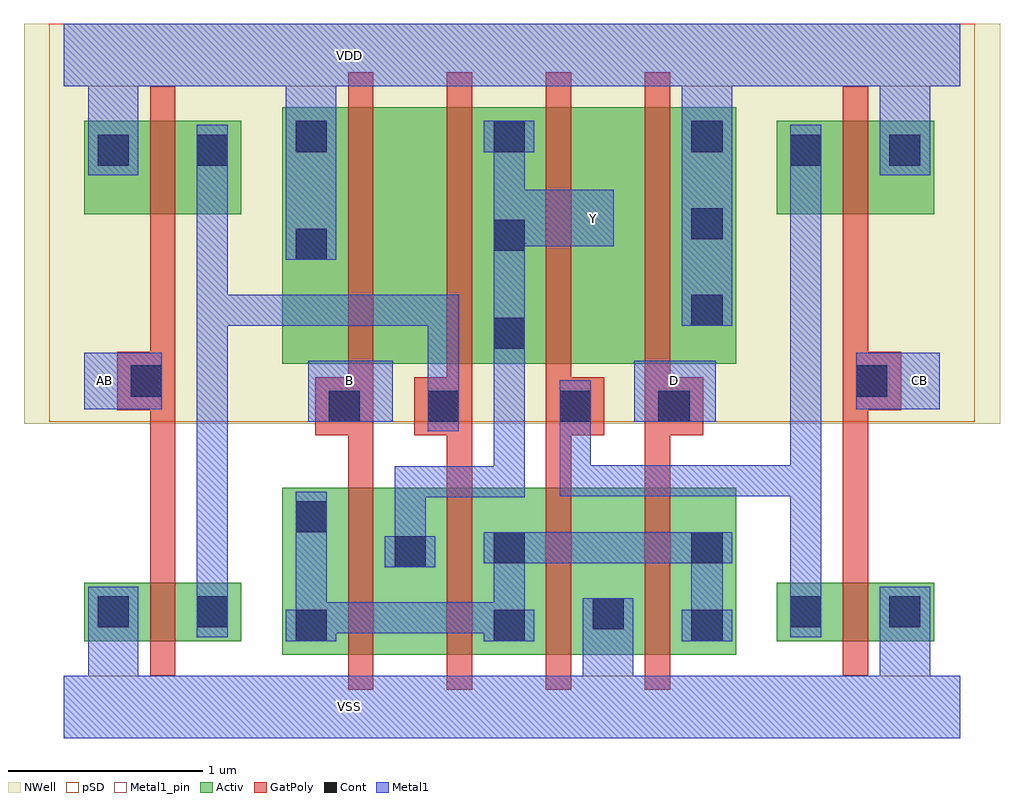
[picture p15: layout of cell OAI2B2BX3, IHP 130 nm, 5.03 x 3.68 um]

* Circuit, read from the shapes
.subckt OAI2B2BX3 AB B CB D VDD VSS Y
XM1 n1 AB VSS VSUBS sg13_lv_nmos w=0.3u l=0.13u
XM2 Y B n2 VSUBS sg13_lv_nmos w=0.86u l=0.13u
XM3 n2 n1 Y VSUBS sg13_lv_nmos w=0.86u l=0.13u
XM4 VSS n3 n2 VSUBS sg13_lv_nmos w=0.86u l=0.13u
XM5 n2 D VSS VSUBS sg13_lv_nmos w=0.86u l=0.13u
XM6 VSS CB n3 VSUBS sg13_lv_nmos w=0.3u l=0.13u
XM7 n1 AB VDD n4 sg13_lv_pmos w=0.48u l=0.13u
XM8 n5 B VDD n4 sg13_lv_pmos w=1.32u l=0.13u
XM9 Y n1 n5 n4 sg13_lv_pmos w=1.32u l=0.13u
XM10 n6 n3 Y n4 sg13_lv_pmos w=1.32u l=0.13u
XM11 VDD D n6 n4 sg13_lv_pmos w=1.32u l=0.13u
XM12 VDD CB n3 n4 sg13_lv_pmos w=0.48u l=0.13u
.ends

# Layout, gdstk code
import gdstk
lib = gdstk.Library(unit=1e-6, precision=1e-09)
def R(c, l, rs):  # rectangles x0, y0, x1, y1
    for r in rs: c.add(gdstk.rectangle(r[:2], r[2:], *l))
def A(c, l, x, y, w, h, nx, ny, dx, dy):  # array of equal rectangles
    R(c, l, [(x+i*dx, y+j*dy, x+i*dx+w, y+j*dy+h) for i in range(nx) for j in range(ny)])
def P(c, l, *ps):  # polygons
    for p in ps: c.add(gdstk.Polygon(p, *l))
Activ = (1, 0)
GatPoly = (5, 0)
Cont = (6, 0)
Metal1 = (8, 0)
Metal1_pin = (8, 2)
pSD = (14, 0)
NWell = (31, 0)

oai2b2bx3 = lib.new_cell('OAI2B2BX3')
R(oai2b2bx3, Activ, [(1.125,0.27,3.465,1.13), (0.105,0.34,0.915,0.64), (3.675,0.34,4.485,0.64), (1.125,1.77,3.465,3.09), (0.105,2.54,0.915,3.02), (3.675,2.54,4.485,3.02)])
P(oai2b2bx3, GatPoly, [(0.445,0.16),(0.445,1.53),(0.275,1.53),(0.275,1.83),(0.445,1.83),(0.445,3.2),(0.575,3.2),(0.575,0.16)],
  [(4.015,0.16),(4.015,3.2),(4.145,3.2),(4.145,1.83),(4.315,1.83),(4.315,1.53),(4.145,1.53),(4.145,0.16)],
  [(1.465,0.09),(1.465,1.4),(1.295,1.4),(1.295,1.7),(1.465,1.7),(1.465,3.27),(1.595,3.27),(1.595,0.09)],
  [(1.975,0.09),(1.975,1.4),(1.805,1.4),(1.805,1.7),(1.975,1.7),(1.975,3.27),(2.105,3.27),(2.105,0.09)],
  [(2.485,0.09),(2.485,3.27),(2.615,3.27),(2.615,1.7),(2.785,1.7),(2.785,1.4),(2.615,1.4),(2.615,0.09)],
  [(2.995,0.09),(2.995,3.27),(3.125,3.27),(3.125,1.7),(3.295,1.7),(3.295,1.4),(3.125,1.4),(3.125,0.09)])
A(oai2b2bx3, Cont, 1.195, 0.34, 0.16, 0.16, 3, 2, 1.02, 2.52)
R(oai2b2bx3, Cont, [(2.725,0.4,2.885,0.56), (0.175,0.41,0.335,0.57), (0.685,0.41,0.845,0.57), (3.745,0.41,3.905,0.57), (4.255,0.41,4.415,0.57), (1.705,0.72,1.865,0.88), (2.215,0.74,2.375,0.9), (3.235,0.74,3.395,0.9), (1.195,0.9,1.355,1.06), (1.365,1.47,1.525,1.63), (1.875,1.47,2.035,1.63), (2.555,1.47,2.715,1.63), (3.065,1.47,3.225,1.63), (0.345,1.6,0.505,1.76), (4.085,1.6,4.245,1.76), (2.215,1.845,2.375,2.005), (3.235,1.965,3.395,2.125), (1.195,2.305,1.355,2.465), (2.215,2.35,2.375,2.51), (3.235,2.41,3.395,2.57), (0.175,2.79,0.335,2.95), (0.685,2.79,0.845,2.95), (3.745,2.79,3.905,2.95), (4.255,2.79,4.415,2.95)])
R(oai2b2bx3, Metal1, [(1.26,1.47,1.695,1.785), (2.94,1.47,3.36,1.785), (0.105,1.535,0.505,1.825), (4.085,1.535,4.515,1.825)])
P(oai2b2bx3, Metal1, [(3.185,1.965),(3.185,3.2),(1.405,3.2),(1.405,2.305),(1.145,2.305),(1.145,3.2),(0.385,3.2),(0.385,2.74),(0.125,2.74),(0.125,3.2),(0,3.2),(0,3.52),(4.62,3.52),(4.62,3.2),(4.465,3.2),(4.465,2.74),(4.205,2.74),(4.205,3.2),(3.445,3.2),(3.445,1.965)],
  [(1.655,0.72),(1.655,0.88),(1.705,0.88),(1.705,1.24),(2.215,1.24),(2.215,2.86),(2.165,2.86),(2.165,3.02),(2.425,3.02),(2.425,2.86),(2.375,2.86),(2.375,2.665),(2.835,2.665),(2.835,2.375),(2.375,2.375),(2.375,1.08),(1.865,1.08),(1.865,0.88),(1.915,0.88),(1.915,0.72)],
  [(0,-0.16),(0,0.16),(0.125,0.16),(0.125,0.62),(0.385,0.62),(0.385,0.16),(2.675,0.16),(2.675,0.56),(2.935,0.56),(2.935,0.16),(4.205,0.16),(4.205,0.62),(4.465,0.62),(4.465,0.16),(4.62,0.16),(4.62,-0.16)],
  [(0.685,0.36),(0.685,3),(0.845,3),(0.845,2.125),(2.035,2.125),(2.035,1.42),(1.875,1.42),(1.875,1.965),(0.845,1.965),(0.845,0.36)],
  [(1.145,0.34),(1.145,0.5),(1.195,0.5),(1.195,1.11),(1.355,1.11),(1.355,0.54),(2.215,0.54),(2.215,0.74),(2.165,0.74),(2.165,0.9),(3.445,0.9),(3.445,0.74),(3.395,0.74),(3.395,0.5),(3.445,0.5),(3.445,0.34),(3.185,0.34),(3.185,0.5),(3.235,0.5),(3.235,0.74),(2.375,0.74),(2.375,0.5),(2.425,0.5),(2.425,0.34),(2.165,0.34),(2.165,0.38),(1.405,0.38),(1.405,0.34)],
  [(3.745,0.36),(3.745,1.085),(2.555,1.085),(2.555,1.685),(2.715,1.685),(2.715,1.245),(3.745,1.245),(3.745,3),(3.905,3),(3.905,0.36)])
R(oai2b2bx3, Metal1_pin, [(0,-0.16,4.62,0.16), (1.705,1.08,2.215,1.24), (1.26,1.47,1.695,1.785), (2.94,1.47,3.36,1.785), (0.105,1.535,0.505,1.825), (4.085,1.535,4.515,1.825), (0,3.2,4.62,3.52)])
P(oai2b2bx3, Metal1_pin, [(2.215,1.08),(2.215,2.86),(2.165,2.86),(2.165,3.02),(2.425,3.02),(2.425,2.86),(2.375,2.86),(2.375,2.665),(2.835,2.665),(2.835,2.375),(2.375,2.375),(2.375,1.08)],
  [(1.655,0.72),(1.655,0.88),(1.705,0.88),(1.705,1.085),(1.865,1.085),(1.865,0.88),(1.915,0.88),(1.915,0.72)])
R(oai2b2bx3, pSD, [(-0.075,1.47,4.695,3.52)])
R(oai2b2bx3, NWell, [(-0.205,1.46,4.825,3.52)])
oai2b2bx3.add(gdstk.Label('AB', (0.21,1.68), layer=8, texttype=25))
oai2b2bx3.add(gdstk.Label('VSS', (1.47,0), layer=8, texttype=25))
oai2b2bx3.add(gdstk.Label('VDD', (1.47,3.36), layer=8, texttype=25))
oai2b2bx3.add(gdstk.Label('D', (3.15,1.68), layer=8, texttype=25))
oai2b2bx3.add(gdstk.Label('Y', (2.73,2.52), layer=8, texttype=25))
oai2b2bx3.add(gdstk.Label('B', (1.47,1.68), layer=8, texttype=25))
oai2b2bx3.add(gdstk.Label('CB', (4.41,1.68), layer=8, texttype=25))

lib.write_gds('OAI2B2BX3.gds')
